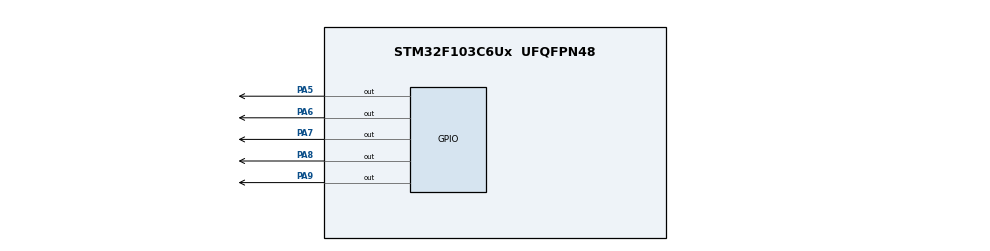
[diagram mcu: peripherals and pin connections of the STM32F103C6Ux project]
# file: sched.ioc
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Mcu.Family=STM32F1
Mcu.Name=STM32F103C6Ux
Mcu.Package=UFQFPN48
NVIC.PriorityGroup=NVIC_PRIORITYGROUP_4
NVIC.TIM2_IRQn=true\:0\:0\:false\:false\:true\:true\:true
PA5.Signal=GPIO_Output
PA6.Signal=GPIO_Output
PA7.Signal=GPIO_Output
PA8.Signal=GPIO_Output
PA9.Signal=GPIO_Output
ProjectManager.HeapSize=0x200
ProjectManager.StackSize=0x400
ProjectManager.TargetToolchain=STM32CubeIDE
RCC.APB1Freq_Value=8000000
RCC.APB2Freq_Value=8000000
TIM2.Period=9
TIM2.Prescaler=7999
VP_SYS_VS_ND.Mode=No_Debug
VP_TIM2_VS_ClockSourceINT.Mode=Internal
board=custom

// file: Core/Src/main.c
/* USER CODE BEGIN Header */
/**
  ******************************************************************************
  * @file           : main.c
  * @brief          : Main program body
  ******************************************************************************
  * @attention
  *
  * <h2><center>&copy; Copyright (c) 2022 STMicroelectronics.
  * All rights reserved.</center></h2>
  *
  * This software component is licensed by ST under BSD 3-Clause license,
  * the "License"; You may not use this file except in compliance with the
  * License. You may obtain a copy of the License at:
  *                        opensource.org/licenses/BSD-3-Clause
  *
  ******************************************************************************
  */
/* USER CODE END Header */
#include "main.h"
#include "SCH.h"

TIM_HandleTypeDef htim2;

void SystemClock_Config(void);
static void MX_GPIO_Init(void);
static void MX_TIM2_Init(void);

/* USER CODE BEGIN 0 */
void led1test(){
	HAL_GPIO_TogglePin(GPIOA, GPIO_PIN_5);
}
void led2test(){
	HAL_GPIO_TogglePin(GPIOA, GPIO_PIN_6);
}
void led3test(){
	HAL_GPIO_TogglePin(GPIOA, GPIO_PIN_7);
}
void led4test(){
	HAL_GPIO_TogglePin(GPIOA, GPIO_PIN_8);
}
void led5test(){
	HAL_GPIO_TogglePin(GPIOA, GPIO_PIN_9);
}
/* USER CODE END 0 */

int main(void)
{

  /* MCU Configuration--------------------------------------------------------*/

  /* Reset of all peripherals, Initializes the Flash interface and the Systick. */
  HAL_Init();

  /* Configure the system clock */
  SystemClock_Config();

  /* Initialize all configured peripherals */
  MX_GPIO_Init();
  MX_TIM2_Init();
  /* USER CODE BEGIN 2 */
  HAL_TIM_Base_Start_IT(&htim2);
  /* USER CODE END 2 */

  /* Infinite loop */
  /* USER CODE BEGIN WHILE */
  SCH_Init();
  SCH_Add_Task(led1test,500,500,0);
  SCH_Add_Task(led2test,1000,1000,0);
  SCH_Add_Task(led3test,1500,1500,0);
  SCH_Add_Task(led4test,2000,2000,0);
  SCH_Add_Task(led5test,2500,2500,1);
  while (1)
  {
	  SCH_Dispatch_Tasks();
    /* USER CODE END WHILE */

  }
}

void SystemClock_Config(void)
{
  RCC_OscInitTypeDef RCC_OscInitStruct = {0};
  RCC_ClkInitTypeDef RCC_ClkInitStruct = {0};

  /** Initializes the RCC Oscillators according to the specified parameters
  * in the RCC_OscInitTypeDef structure.
  */
  RCC_OscInitStruct.OscillatorType = RCC_OSCILLATORTYPE_HSI;
  RCC_OscInitStruct.HSIState = RCC_HSI_ON;
  RCC_OscInitStruct.HSICalibrationValue = RCC_HSICALIBRATION_DEFAULT;
  RCC_OscInitStruct.PLL.PLLState = RCC_PLL_NONE;
  if (HAL_RCC_OscConfig(&RCC_OscInitStruct) != HAL_OK)
  {
    Error_Handler();
  }
  /** Initializes the CPU, AHB and APB buses clocks
  */
  RCC_ClkInitStruct.ClockType = RCC_CLOCKTYPE_HCLK|RCC_CLOCKTYPE_SYSCLK
                              |RCC_CLOCKTYPE_PCLK1|RCC_CLOCKTYPE_PCLK2;
  RCC_ClkInitStruct.SYSCLKSource = RCC_SYSCLKSOURCE_HSI;
  RCC_ClkInitStruct.AHBCLKDivider = RCC_SYSCLK_DIV1;
  RCC_ClkInitStruct.APB1CLKDivider = RCC_HCLK_DIV1;
  RCC_ClkInitStruct.APB2CLKDivider = RCC_HCLK_DIV1;

  if (HAL_RCC_ClockConfig(&RCC_ClkInitStruct, FLASH_LATENCY_0) != HAL_OK)
  {
    Error_Handler();
  }
}

static void MX_TIM2_Init(void)
{

  TIM_ClockConfigTypeDef sClockSourceConfig = {0};
  TIM_MasterConfigTypeDef sMasterConfig = {0};

  htim2.Instance = TIM2;
  htim2.Init.Prescaler = 7999;
  htim2.Init.CounterMode = TIM_COUNTERMODE_UP;
  htim2.Init.Period = 9;
  htim2.Init.ClockDivision = TIM_CLOCKDIVISION_DIV1;
  htim2.Init.AutoReloadPreload = TIM_AUTORELOAD_PRELOAD_DISABLE;
  if (HAL_TIM_Base_Init(&htim2) != HAL_OK)
  {
    Error_Handler();
  }
  sClockSourceConfig.ClockSource = TIM_CLOCKSOURCE_INTERNAL;
  if (HAL_TIM_ConfigClockSource(&htim2, &sClockSourceConfig) != HAL_OK)
  {
    Error_Handler();
  }
  sMasterConfig.MasterOutputTrigger = TIM_TRGO_RESET;
  sMasterConfig.MasterSlaveMode = TIM_MASTERSLAVEMODE_DISABLE;
  if (HAL_TIMEx_MasterConfigSynchronization(&htim2, &sMasterConfig) != HAL_OK)
  {
    Error_Handler();
  }

}

static void MX_GPIO_Init(void)
{
  GPIO_InitTypeDef GPIO_InitStruct = {0};

  /* GPIO Ports Clock Enable */
  __HAL_RCC_GPIOA_CLK_ENABLE();

  /*Configure GPIO pin Output Level */
  HAL_GPIO_WritePin(GPIOA, GPIO_PIN_5|GPIO_PIN_6|GPIO_PIN_7|GPIO_PIN_8
                          |GPIO_PIN_9, GPIO_PIN_RESET);

  /*Configure GPIO pins : PA5 PA6 PA7 PA8
                           PA9 */
  GPIO_InitStruct.Pin = GPIO_PIN_5|GPIO_PIN_6|GPIO_PIN_7|GPIO_PIN_8
                          |GPIO_PIN_9;
  GPIO_InitStruct.Mode = GPIO_MODE_OUTPUT_PP;
  GPIO_InitStruct.Pull = GPIO_NOPULL;
  GPIO_InitStruct.Speed = GPIO_SPEED_FREQ_LOW;
  HAL_GPIO_Init(GPIOA, &GPIO_InitStruct);

}

/* USER CODE BEGIN 4 */
void HAL_TIM_PeriodElapsedCallback (TIM_HandleTypeDef *htim ){
	SCH_Update();
}
/* USER CODE END 4 */

void Error_Handler(void)
{
  __disable_irq();
  while (1)
  {
  }
}

/************************ (C) COPYRIGHT STMicroelectronics *****END OF FILE****/
